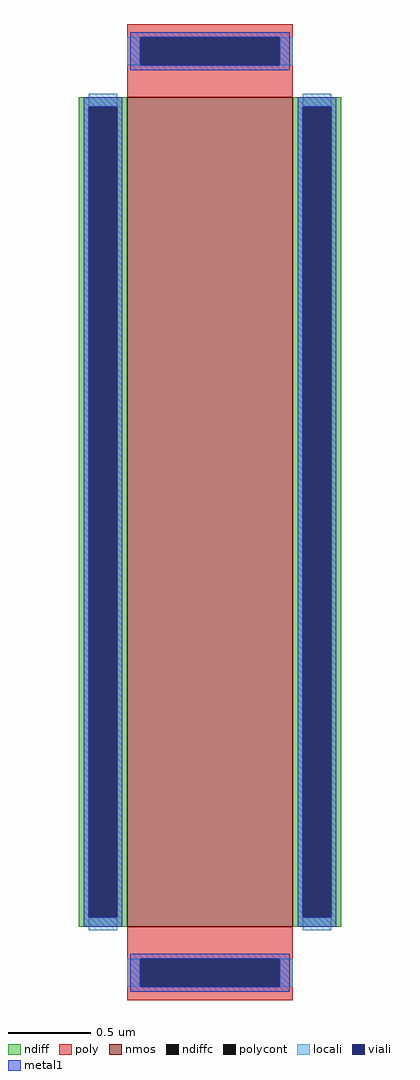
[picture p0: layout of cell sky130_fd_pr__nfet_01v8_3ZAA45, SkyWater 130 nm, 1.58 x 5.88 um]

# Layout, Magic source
magic
tech sky130A
<< nmos >>
rect -50 -250 50 250
<< ndiff >>
rect -79 244 -50 250
rect -79 -244 -73 244
rect -56 -244 -50 244
rect -79 -250 -50 -244
rect 50 244 79 250
rect 50 -244 56 244
rect 73 -244 79 244
rect 50 -250 79 -244
<< ndiffc >>
rect -73 -244 -56 244
rect 56 -244 73 244
<< poly >>
rect -50 286 50 294
rect -50 269 -42 286
rect 42 269 50 286
rect -50 250 50 269
rect -50 -269 50 -250
rect -50 -286 -42 -269
rect 42 -286 50 -269
rect -50 -294 50 -286
<< polycont >>
rect -42 269 42 286
rect -42 -286 42 -269
<< locali >>
rect -50 269 -42 286
rect 42 269 50 286
rect -73 244 -56 252
rect -73 -252 -56 -244
rect 56 244 73 252
rect 56 -252 73 -244
rect -50 -286 -42 -269
rect 42 -286 50 -269
<< viali >>
rect -42 269 42 286
rect -73 -244 -56 244
rect 56 -244 73 244
rect -42 -286 42 -269
<< metal1 >>
rect -48 286 48 289
rect -48 269 -42 286
rect 42 269 48 286
rect -48 266 48 269
rect -76 244 -53 250
rect -76 -244 -73 244
rect -56 -244 -53 244
rect -76 -250 -53 -244
rect 53 244 76 250
rect 53 -244 56 244
rect 73 -244 76 244
rect 53 -250 76 -244
rect -48 -269 48 -266
rect -48 -286 -42 -269
rect 42 -286 48 -269
rect -48 -289 48 -286
<< properties >>
string gencell sky130_fd_pr__nfet_01v8
string library sky130
string parameters w 5.0 l 1.0 m 1 nf 1 diffcov 100 polycov 100 guard 0 glc 1 grc 1 gtc 1 gbc 1 tbcov 100 rlcov 100 topc 1 botc 1 poverlap 0 doverlap 1 lmin 0.15 wmin 0.42 compatible {sky130_fd_pr__nfet_01v8 sky130_fd_pr__nfet_01v8_lvt  sky130_fd_bs_flash__special_sonosfet_star  sky130_fd_pr__nfet_g5v0d10v5 sky130_fd_pr__nfet_05v0_nvt  sky130_fd_pr__nfet_03v3_nvt} full_metal 1 viasrc 100 viadrn 100 viagate 100 viagb 0 viagr 0 viagl 0 viagt 0
<< end >>
